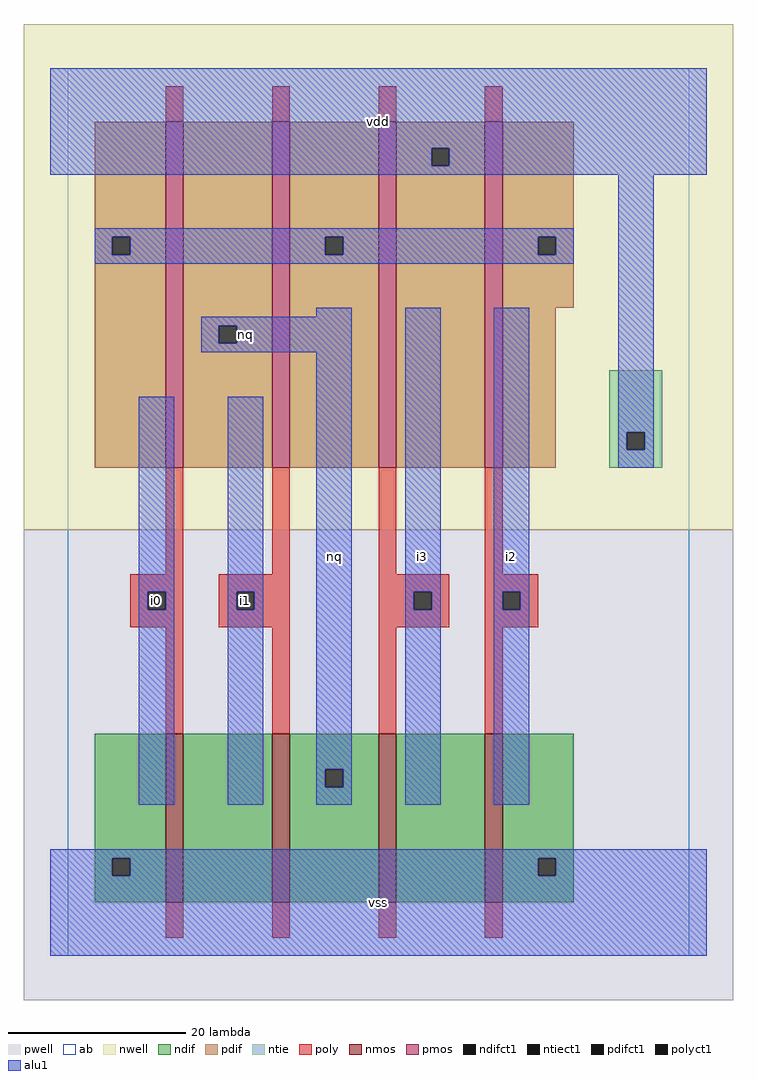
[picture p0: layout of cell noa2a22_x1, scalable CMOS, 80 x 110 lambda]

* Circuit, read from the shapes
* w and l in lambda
.subckt noa2a22_x1 i0 i1 i2 i3 nq vdd vss
M1 n1 i0 vss VSUBS nfet w=19 l=2
M2 nq i1 n1 VSUBS nfet w=19 l=2
M3 n2 i3 nq VSUBS nfet w=19 l=2
M4 vss i2 n2 VSUBS nfet w=19 l=2
M5 nq i0 n3 vdd pfet w=39 l=2
M6 n3 i1 nq vdd pfet w=39 l=2
M7 vdd i3 n3 vdd pfet w=39 l=2
M8 n3 i2 vdd vdd pfet w=39 l=2
.ends

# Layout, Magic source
magic
tech scmos
<< ab >>
rect 0 0 70 100
<< nwell >>
rect -5 48 75 105
<< pwell >>
rect -5 -5 75 48
<< poly >>
rect 11 94 13 98
rect 23 94 25 98
rect 35 94 37 98
rect 47 94 49 98
rect 11 43 13 55
rect 23 43 25 55
rect 7 41 13 43
rect 7 39 9 41
rect 11 39 13 41
rect 7 37 13 39
rect 17 41 25 43
rect 17 39 19 41
rect 21 39 25 41
rect 17 37 25 39
rect 11 25 13 37
rect 23 25 25 37
rect 35 43 37 55
rect 47 43 49 55
rect 35 41 43 43
rect 35 39 39 41
rect 41 39 43 41
rect 35 37 43 39
rect 47 41 53 43
rect 47 39 49 41
rect 51 39 53 41
rect 47 37 53 39
rect 35 25 37 37
rect 47 25 49 37
rect 11 2 13 6
rect 23 2 25 6
rect 35 2 37 6
rect 47 2 49 6
<< ndif >>
rect 3 11 11 25
rect 3 9 5 11
rect 7 9 11 11
rect 3 6 11 9
rect 13 6 23 25
rect 25 21 35 25
rect 25 19 29 21
rect 31 19 35 21
rect 25 6 35 19
rect 37 6 47 25
rect 49 11 57 25
rect 49 9 53 11
rect 55 9 57 11
rect 49 6 57 9
<< pdif >>
rect 3 81 11 94
rect 3 79 5 81
rect 7 79 11 81
rect 3 55 11 79
rect 13 71 23 94
rect 13 69 17 71
rect 19 69 23 71
rect 13 55 23 69
rect 25 81 35 94
rect 25 79 29 81
rect 31 79 35 81
rect 25 55 35 79
rect 37 91 47 94
rect 37 89 41 91
rect 43 89 47 91
rect 37 55 47 89
rect 49 81 57 94
rect 49 79 53 81
rect 55 79 57 81
rect 49 73 57 79
rect 49 55 55 73
<< alu1 >>
rect -2 91 72 100
rect -2 89 41 91
rect 43 89 72 91
rect -2 88 72 89
rect 3 81 57 82
rect 3 79 5 81
rect 7 79 29 81
rect 31 79 53 81
rect 55 79 57 81
rect 3 78 57 79
rect 28 72 32 73
rect 15 71 32 72
rect 15 69 17 71
rect 19 69 32 71
rect 15 68 32 69
rect 8 41 12 63
rect 8 39 9 41
rect 11 39 12 41
rect 8 17 12 39
rect 18 41 22 63
rect 18 39 19 41
rect 21 39 22 41
rect 18 17 22 39
rect 28 21 32 68
rect 28 19 29 21
rect 31 19 32 21
rect 28 17 32 19
rect 38 41 42 73
rect 38 39 39 41
rect 41 39 42 41
rect 38 17 42 39
rect 48 41 52 73
rect 62 59 66 88
rect 62 57 63 59
rect 65 57 66 59
rect 62 55 66 57
rect 48 39 49 41
rect 51 39 52 41
rect 48 17 52 39
rect -2 11 72 12
rect -2 9 5 11
rect 7 9 53 11
rect 55 9 72 11
rect -2 0 72 9
<< ntie >>
rect 61 59 67 66
rect 61 57 63 59
rect 65 57 67 59
rect 61 55 67 57
<< nmos >>
rect 11 6 13 25
rect 23 6 25 25
rect 35 6 37 25
rect 47 6 49 25
<< pmos >>
rect 11 55 13 94
rect 23 55 25 94
rect 35 55 37 94
rect 47 55 49 94
<< polyct1 >>
rect 9 39 11 41
rect 19 39 21 41
rect 39 39 41 41
rect 49 39 51 41
<< ndifct1 >>
rect 5 9 7 11
rect 29 19 31 21
rect 53 9 55 11
<< ntiect1 >>
rect 63 57 65 59
<< pdifct1 >>
rect 5 79 7 81
rect 17 69 19 71
rect 29 79 31 81
rect 41 89 43 91
rect 53 79 55 81
<< labels >>
rlabel polyct1 10 40 10 40 6 i0
rlabel polyct1 20 40 20 40 6 i1
rlabel alu1 30 45 30 45 6 nq
rlabel alu1 20 70 20 70 6 nq
rlabel alu1 35 6 35 6 6 vss
rlabel alu1 50 45 50 45 6 i2
rlabel alu1 40 45 40 45 6 i3
rlabel alu1 35 94 35 94 6 vdd
<< end >>
